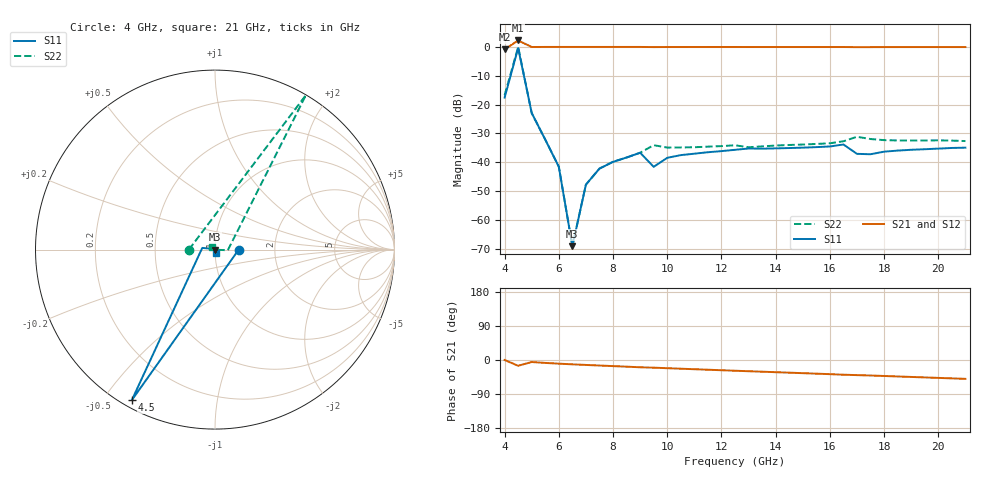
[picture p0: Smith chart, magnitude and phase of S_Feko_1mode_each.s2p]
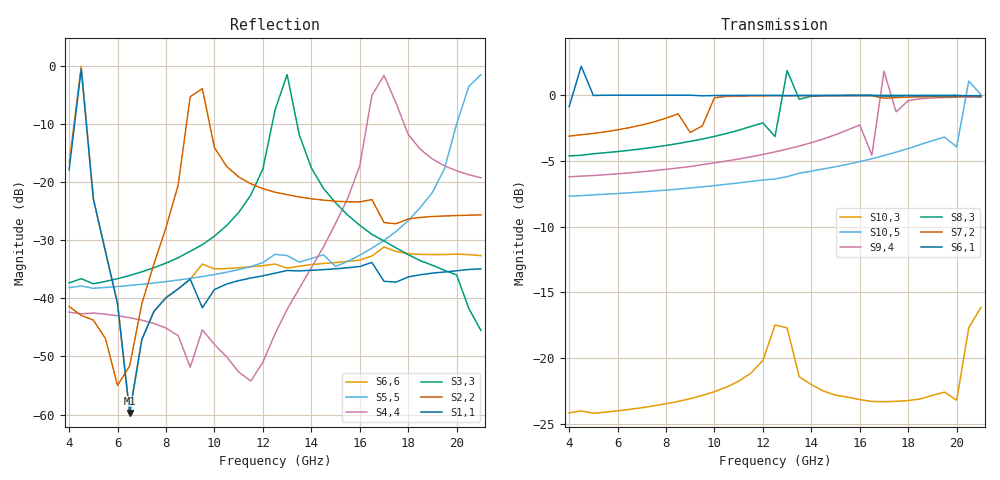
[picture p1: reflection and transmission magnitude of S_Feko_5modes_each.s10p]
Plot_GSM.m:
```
% close all;
%<<<<<<< HEAD
% c_ = load('TE_TE_Spp.mat');
c_25 = load('Spr_ratio_1.mat');

%=======
c_1 = load('Spr_ratio_1_modes_1.mat');

c_5 = load('Spr_ratio_1_modes_5.mat');

c_7 = load('Spr_ratio_1_modes_5.mat');

c_10 = load('Srr_ratio_1_modes_10.mat');

c_30 = load('Spr_ratio_1_modes_30.mat');

% c_1_with_N = load('Spp_ratio_1_modes_1_with_N.mat');

data1 = read(rfdata.data,'S_Feko_1mode_each.s2p');
s_params_1 = extract(data1,'S_PARAMETERS');

data5 = read(rfdata.data,'S_Feko_5modes_each.s10p');
s_params_5 = extract(data5,'S_PARAMETERS');



data7 = read(rfdata.data, 'S_Feko_7modes_each.s14p');
s_params_7 = extract(data7,'S_PARAMETERS');


data8 = read(rfdata.data,'S_Feko_8modes_each.s16p');
s_params_8 = extract(data8,'S_PARAMETERS');

data9 = read(rfdata.data,'S_Feko_9modes_each.s18p');
s_params_9 = extract(data9,'S_PARAMETERS');

data10 = read(rfdata.data,'S_Feko_10modes_each.s20p');
s_params_10 = extract(data10,'S_PARAMETERS');



freq = data5.Freq;

%c_a = load('TE_TE_Spp_analytical_2.mat');
%>>>>>>> 0a21b496e0b0f28d61b4a47fcc24420c9c551183
%c_a = load('TE_TE_S11_p_n.mat');
% GSM_ = c_.Srp;

GSM_1 = c_1.Spr;
GSM_5 = c_5.Spr;
GSM_7 = c_5.Spr;
GSM_10 = c_10.Srr;
GSM_25 = c_25.Spr;
GSM_30 = c_30.Spr;

% GSM_1_with_N = c_1_with_N.Spp;

% F = 1e9:1e9:100e9;
% F_ = 4e9:0.5e9:30e9;
F = 4e9:0.5e9:21e9;
% F = 4e9:0.1e9:21e9;


% F = 200e9:1e9:300e9;

% F = 21e9:0.5e9:40e9;

figure;
for i = 1:1


hold on;
% plot(F * 1e-9, db(abs(GSM_(:, i, i)))/2, '*', 'LineWidth', 1); grid on;
hold on;
% plot(F * 1e-9, db((GSM_a(:, i, i))/max(GSM_a(:, i, i)))/2, 'LineWidth', 2); grid on;

%<<<<<<< HEAD
% plot(F * 1e-9, (abs(GSM_a(:, i, i))), 'LineWidth', 2); grid on;
%=======
%plot(F * 1e-9, db(abs(GSM_1(:, i, i)))/2, 'LineWidth', 2); grid on;
% hold on;
% plot(F * 1e-9, db(abs(GSM_5(:, i, i)))/2, 'LineWidth', 2); grid on;
hold on;
% plot(freq * 1e-9, db(abs(squeeze(s_params_1(1, 1, :))))/2, '-.', 'LineWidth', 2); grid on;
hold on;
% plot(F * 1e-9, db(abs(GSM_1(:, i, i)))/2, 'LineWidth', 1); grid on;
hold on;
% plot(freq * 1e-9, db(abs(squeeze(s_params_5(1, 1, :))))/2, '--', 'LineWidth', 1); grid on;
hold on;
% plot(F * 1e-9, db(abs(GSM_5(:, i, i)))/2, 'LineWidth', 2); grid on;
hold on;
% plot(freq * 1e-9, db(abs(squeeze(s_params_7(1, 1, :))))/2, '--', 'LineWidth', 1); grid on;
hold on;
% plot(F * 1e-9, db(abs(GSM_7(:, i, i)))/2, '-.', 'LineWidth', 2); grid on;

% plot(freq * 1e-9, db(abs(squeeze(s_params_8(1, 1, :))))/2, '-.', 'LineWidth', 1); grid on;
hold on;
%plot(F * 1e-9, db(abs(GSM_8(:, i, i)))/2, '-.', 'LineWidth', 2); grid on;

% plot(freq * 1e-9, db(abs(squeeze(s_params_9(1, 1, :))))/2, '*', 'LineWidth', 1); grid on;
hold on;
%plot(F * 1e-9, db(abs(GSM_9(:, i, i)))/2, '-.', 'LineWidth', 2); grid on;

plot(freq * 1e-9, db(abs(squeeze(s_params_10(11, 11, :))))/2, 'LineWidth', 1); grid on;
hold on;
plot(F * 1e-9, db(abs(GSM_10(:, i, i)))/2, '-.', 'LineWidth', 2); grid on;

% hold on;
% plot(F * 1e-9, db(abs(GSM_1_with_N(:, i, i)))/2, 'LineWidth', 2); grid on;
hold on;
%plot(F * 1e-9, -db(abs(GSM_10(:, i, i))), 'LineWidth', 2); grid on;
hold on;
% plot(F * 1e-9, db(abs(GSM_30(:, i, i)))/2, 'LineWidth', 2); grid on;
%>>>>>>> 0a21b496e0b0f28d61b4a47fcc24420c9c551183





end
xlabel('Frequency (GHz)', 'FontSize', 12, 'FontWeight', 'bold');
ylabel('S in  dB', 'FontSize', 12, 'FontWeight', 'bold');
title(['S Parameter'], 'FontSize', 12, 'FontWeight', 'bold');

% 
% legend({'|S_{pp}| of TE_{11} mode with 1 mode on each side',...
%     '|S_{pp}| of TE_{11} mode with 10 modes on each side',...
%     '|S_{pp}| of TE_{11} mode with 25 modes on each side', ...
%     '|S_{pp}| of TE_{11} mode with 30 modes on each side'},...
%     'FontSize', 12, 'FontWeight', 'bold', 'location', 'southeast');

% legend({'|S_{pp}| of TE_{11} with 1 mode active - Feko',...
%     '|S_{pp}| of TE_{11} with 1 mode active - MM', ...
%     '|S_{pp}| of TE_{11} with 5 modes active - Feko',...
%     '|S_{pp}| of TE_{11} with 5 modes active - MM',...
%     '|S_{pp}| of TE_{11} with 7 modes active - Feko',...
%     '|S_{pp}| of TE_{11} with 7 modes active - MM', ...
%     '|S_{pp}| of TE_{11} with 8 modes active - Feko',...
%     '|S_{pp}| of TE_{11} with 8 modes active - MM'...
%     '|S_{pp}| of TE_{11} with 9 modes active - Feko',...
%     '|S_{pp}| of TE_{11} with 9 modes active - MM'...
%     '|S_{pp}| of TE_{11} with 10 modes active - Feko',...
%     '|S_{pp}| of TE_{11} with 10 modes active - MM'},...
%     'FontSize', 12, 'FontWeight', 'bold', 'location', 'southeast');


% legend({'|S_{pp}| of TE_{11} with 1 mode active - Feko',...
%     '|S_{pp}| of TE_{11} with 5 modes active - Feko',...
%     '|S_{pp}| of TE_{11} with 7 modes active - Feko',...
%     '|S_{pp}| of TE_{11} with 8 modes active - Feko'...
%     '|S_{pp}| of TE_{11} with 9 modes active - Feko',...
%     '|S_{pp}| of TE_{11} with 10 modes active - Feko'},...
%     'FontSize', 12, 'FontWeight', 'bold', 'location', 'southeast');


legend({'|S_{rr}| of TE_{11} with 10 modes active - Feko',...
    '|S_{rr}| of TE_{11} with 10 modes active - MM'},...
    'FontSize', 12, 'FontWeight', 'bold', 'location', 'southeast');
% xlim([4.56 21]); 

% print('Spp_conv_ratio_1', '-depsc');

%% 



Np_ = 25;

figure(1);
c_a = load('Conv_Srp_1_mode_1.mat');
Srp_ = c_a.Srp_;
% 
% 
plot(1:1:Np_, db(abs((squeeze(Srp_))))/2, 'LineWidth', 2); grid on;
%>>>>>>> 0a21b496e0b0f28d61b4a47fcc24420c9c551183

xlabel('N in mode', 'FontSize', 12, 'FontWeight', 'bold');
ylabel('Srp in  dB', 'FontSize', 12, 'FontWeight', 'bold');
title(['S Parameter'], 'FontSize', 12, 'FontWeight', 'bold');

print('Srp_radii_ratio_2_modes_ratio_1', '-depsc');


figure(2);

c_a = load('Conv_Spr_1_mode_1.mat');
Spr_ = c_a.Spr_;

plot(1:1:Np_, db(abs((squeeze(Spr_))))/2, 'LineWidth', 2); grid on;
%>>>>>>> 0a21b496e0b0f28d61b4a47fcc24420c9c551183

xlabel('N in mode', 'FontSize', 12, 'FontWeight', 'bold');
ylabel('Spr in  dB', 'FontSize', 12, 'FontWeight', 'bold');
title(['S Parameter'], 'FontSize', 12, 'FontWeight', 'bold');

print('Spr_radii_ratio_2_modes_ratio_1', '-depsc');

figure(3);

c_a = load('Conv_Spp_1_mode_1.mat');
Spp_ = c_a.Spp_;

plot(1:1:Np_, db(abs((squeeze(Spp_))))/2, 'LineWidth', 2); grid on;
%>>>>>>> 0a21b496e0b0f28d61b4a47fcc24420c9c551183

xlabel('N in mode', 'FontSize', 12, 'FontWeight', 'bold');
ylabel('Spp in  dB', 'FontSize', 12, 'FontWeight', 'bold');
title(['S Parameter'], 'FontSize', 12, 'FontWeight', 'bold');

print('Spp_radii_ratio_2_modes_ratio_1', '-depsc');

figure(4);

c_a = load('Conv_Srr_1_mode_1.mat');
Srr_ = c_a.Srr_;

plot(1:1:Np_, db(abs((squeeze(Srr_))))/2, 'LineWidth', 2); grid on;
%>>>>>>> 0a21b496e0b0f28d61b4a47fcc24420c9c551183

xlabel('N in mode', 'FontSize', 12, 'FontWeight', 'bold');
ylabel('Srr in  dB', 'FontSize', 12, 'FontWeight', 'bold');
title(['S Parameter'], 'FontSize', 12, 'FontWeight', 'bold');

print('Srr_radii_ratio_2_modes_ratio_1', '-depsc');
```
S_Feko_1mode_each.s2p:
! S-parameter export from POSTFEKO
! Filename: circular_2wg_1mode
! Creation date: 2019-12-29 17:08:22
# Hz S MA R  5.0000000E+01
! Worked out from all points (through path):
!   35 points, 4 GHz to 21 GHz, reference 50 ohm
!   highest |S21| = 2.25 dB at 4.5 GHz (marker M1); lowest = -0.9 dB at 4 GHz (marker M2)
!   group delay of S21, straight-line fit = 7.34 ps
!   lowest |S11| = -69.1 dB at 6.5 GHz (marker M3), VSWR 1.00, Z = 50 + j0.0353 ohm
!   |S11| at or under -10 dB: start of sweep to 4.22 GHz; 4.714 GHz to end of sweep
!   |S22| runs from -69.0 to 0.0 dB; largest |S21 - S12| = 3e-05
!   S11 on the Smith chart (normalised r, x): 4 GHz: 1.30, +0.00; 4.5 GHz: 0.03, -0.59; 21 GHz: 1.01, -0.03
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4e9  0.1322 0.0  0.9066 0.0  0.9066 -0.0  0.1455 180.0
4.5e9  0.9581 -118.9  1.295 -15.2  1.295 -15.2  1 59.5
5e9  0.07149 172.4  0.9974 -5.3  0.9974 -5.3  0.07149 -3.0
6e9  0.008403 163.8  1 -9.7  1 -9.7  0.008401 -3.1
6.5e9  0.0003528 91.0  1 -11.4  1 -11.4  0.0003539 66.3
7e9  0.004115 -17.7  1 -13.0  1 -13.0  0.004116 171.6
7.5e9  0.007792 -21.4  1 -14.6  1 -14.6  0.007806 172.1
9e9  0.01468 -46.4  0.9999 -19.2  0.9999 -19.2  0.01468 -172.1
9.5e9  0.008365 -23.0  0.9942 -20.2  0.9942 -20.2  0.01984 161.3
1.25e10  0.0165 -36.3  0.9982 -28.3  0.9982 -28.3  0.01978 158.7
2.1e10  0.01797 -73.7  0.9952 -49.7  0.9952 -49.7  0.02337 146.4
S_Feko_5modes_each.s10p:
! S-parameter export from POSTFEKO
! Filename: circular_2wg_5modes
! Creation date: 2019-12-28 12:44:53
# GHz S MA R  5.0000000E+01
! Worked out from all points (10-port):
!   35 points, 4 GHz to 21 GHz, reference 50 ohm
!   strongest paths, dB at 4 GHz, 8 GHz, 12.5 GHz, 17 GHz, 21 GHz:
!     S6,1: -0.9, 0.0, 0.0, -0.1, 0.0
!     S7,2: -3.1, -1.8, 0.0, -0.2, -0.1
!     S8,3: -4.6, -3.8, -3.1, 0.0, -0.1
!     S9,4: -6.2, -5.6, -4.3, 1.8, -0.1
!     S10,5: -7.7, -7.2, -6.4, -4.6, 0.0
!     S10,3: -24.1, -23.5, -17.5, -23.3, -16.1
!   lowest |S11| = -59.7 dB at 6.5 GHz (marker M1), VSWR 1.00, Z = 50 + j0.0959 ohm
!   |S11| at or under -10 dB: start of sweep to 4.226 GHz; 4.713 GHz to end of sweep
